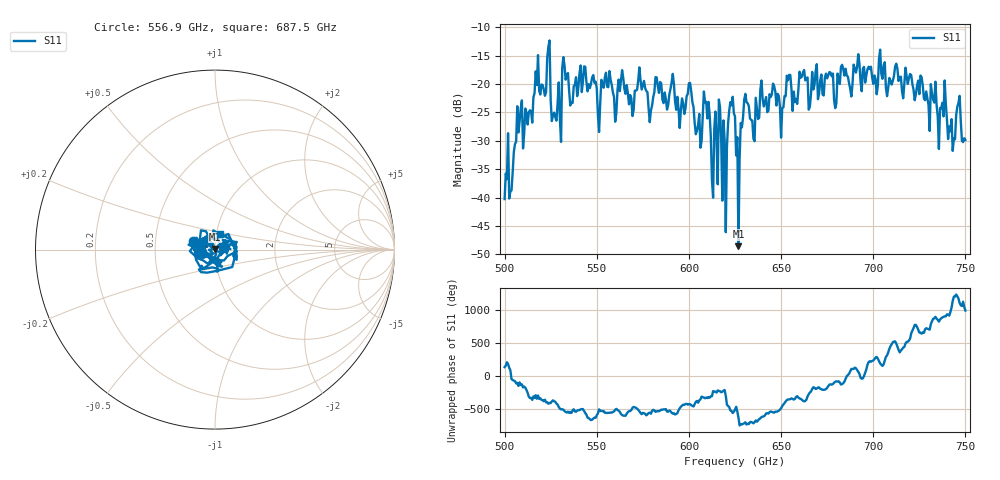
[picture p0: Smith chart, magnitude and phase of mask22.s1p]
!Created with skrf (http://scikit-rf.org).
# GHz S MA R 50.0
!freq magS11 angS11
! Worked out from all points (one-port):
!   401 points, 500 GHz to 750 GHz, reference 50 ohm
!   lowest |S11| = -48.6 dB at 626.9 GHz (marker M1), VSWR 1.01, Z = 50 + j0.372 ohm
!   |S11| at or under -10 dB: start of sweep to end of sweep
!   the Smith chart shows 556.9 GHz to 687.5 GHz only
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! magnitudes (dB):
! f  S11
! 500 GHz  -40.3
! 503.8 GHz  -38.7
! 508.1 GHz  -26.6
! 513.8 GHz  -24.6
! 516.9 GHz  -17.8
! 523.8 GHz  -13.4
! 526.9 GHz  -25.0
! 531.2 GHz  -17.2
! 562.5 GHz  -21.2
! 593.8 GHz  -22.2
! 600.6 GHz  -19.8
! 605.6 GHz  -25.3
! 609.4 GHz  -23.1
! 612.5 GHz  -37.0
! 615.6 GHz  -37.7
! 619.4 GHz  -29.8
! 622.5 GHz  -23.2
! 625 GHz  -25.7
! 626.9 GHz  -48.6
! 631.2 GHz  -23.2
! 634.4 GHz  -26.4
! 640 GHz  -22.7
! 656.2 GHz  -24.7
! 687.5 GHz  -20.8
! 718.8 GHz  -20.0
! 743.1 GHz  -31.8
! 746.2 GHz  -23.3
! 750 GHz  -29.8
